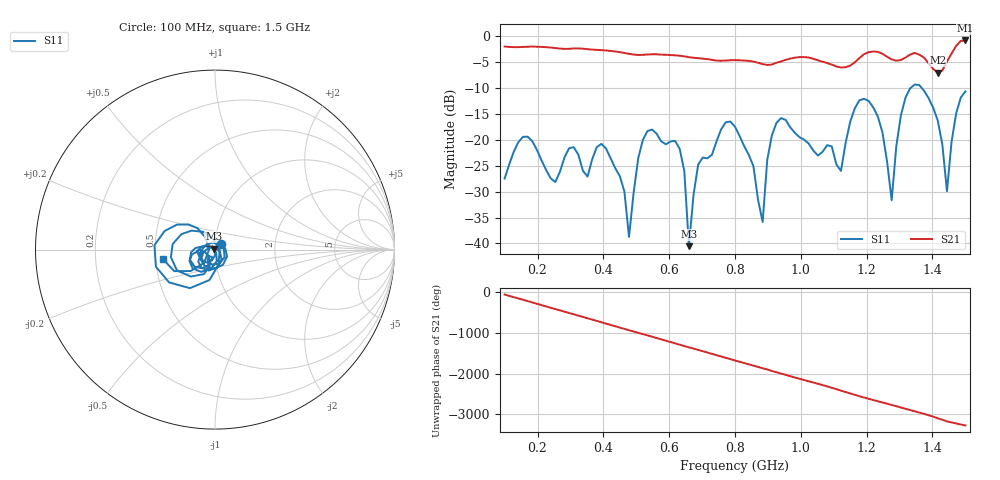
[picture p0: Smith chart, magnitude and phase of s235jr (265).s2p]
! NanoVNA-App
! Date: 2025-09-25 15:06:13
! Start: 100MHz Stop: 1,5GHz Points: 101
! S-Parameter data: F S11 S21 S12 S22
# Hz S RI R 50
!  Frequency  S11_Real  S11_Imag  S21_Real  S21_Imag  S12_Real  S12_Imag  S22_Real  S22_Imag
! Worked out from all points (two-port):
!   101 points, 100 MHz to 1.5 GHz, reference 50 ohm
!   highest |S21| = -0.79 dB at 1.5 GHz (marker M1); lowest = -7.0 dB at 1.416 GHz (marker M2)
!   |S21| within 3 dB of the highest: start of sweep to 637.1 MHz; 1.185 GHz to 1.258 GHz (72.93 MHz wide, 5.97 % of centre) (the widest 2 of 4)
!   lowest |S11| = -40.5 dB at 660 MHz (marker M3), VSWR 1.02, Z = 49.3 + j0.578 ohm
!   |S11| at or under -10 dB: start of sweep to 1.333 GHz; 1.368 GHz to end of sweep
!   S12 and S22 are empty: the file has one direction only
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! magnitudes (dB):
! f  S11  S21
! 100 MHz  -27.5  -2.0
! 156 MHz  -19.4  -2.0
! 338 MHz  -26.0  -2.4
! 408 MHz  -21.7  -2.7
! 478 MHz  -38.7  -3.4
! 520 MHz  -20.0  -3.6
! 576 MHz  -20.3  -3.5
! 632 MHz  -21.7  -3.7
! 660 MHz  -40.5  -4.0
! 688 MHz  -24.8  -4.2
! 800 MHz  -17.5  -4.6
! 884 MHz  -35.9  -5.4
! 898 MHz  -23.8  -5.5
! 926 MHz  -16.7  -5.1
! 1.038 GHz  -22.1  -4.3
! 1.122 GHz  -26.0  -6.0
! 1.206 GHz  -12.5  -3.1
! 1.276 GHz  -31.7  -4.4
! 1.332 GHz  -10.1  -3.5
! 1.416 GHz  -16.2  -7.0
! 1.444 GHz  -29.9  -4.9
! 1.5 GHz  -10.6  -0.8
